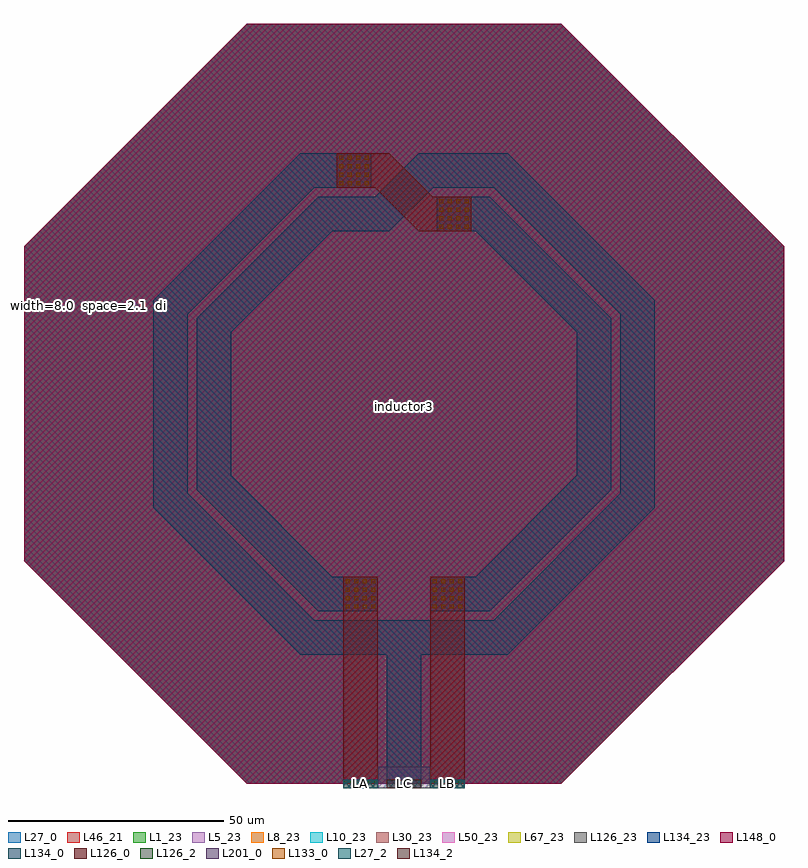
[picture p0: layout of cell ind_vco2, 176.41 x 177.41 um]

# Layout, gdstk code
import gdstk
lib = gdstk.Library(unit=1e-6, precision=1e-09)
def R(c, l, rs):  # rectangles x0, y0, x1, y1
    for r in rs: c.add(gdstk.rectangle(r[:2], r[2:], *l))
def A(c, l, x, y, w, h, nx, ny, dx, dy):  # array of equal rectangles
    R(c, l, [(x+i*dx, y+j*dy, x+i*dx+w, y+j*dy+h) for i in range(nx) for j in range(ny)])
def P(c, l, *ps):  # polygons
    for p in ps: c.add(gdstk.Polygon(p, *l))
L1_23 = (1, 23)
L5_23 = (5, 23)
L8_23 = (8, 23)
L10_23 = (10, 23)
L27_0 = (27, 0)
L27_2 = (27, 2)
L30_23 = (30, 23)
L46_21 = (46, 21)
L50_23 = (50, 23)
L67_23 = (67, 23)
L126_0 = (126, 0)
L126_2 = (126, 2)
L126_23 = (126, 23)
L133_0 = (133, 0)
L134_0 = (134, 0)
L134_2 = (134, 2)
L134_23 = (134, 23)
L148_0 = (148, 0)
L201_0 = (201, 0)

ind_vco2 = lib.new_cell('ind_vco2')
P(ind_vco2, L1_23, [(-36.535,0),(-88.205,51.67),(-88.205,124.74),(-36.535,176.41),(36.535,176.41),(88.205,124.74),(88.205,51.67),(36.535,0)])
P(ind_vco2, L5_23, [(-36.535,0),(-88.205,51.67),(-88.205,124.74),(-36.535,176.41),(36.535,176.41),(88.205,124.74),(88.205,51.67),(36.535,0)])
P(ind_vco2, L8_23, [(-36.535,0),(-88.205,51.67),(-88.205,124.74),(-36.535,176.41),(36.535,176.41),(88.205,124.74),(88.205,51.67),(36.535,0)])
P(ind_vco2, L10_23, [(-36.535,0),(-88.205,51.67),(-88.205,124.74),(-36.535,176.41),(36.535,176.41),(88.205,124.74),(88.205,51.67),(36.535,0)])
P(ind_vco2, L27_0, [(-36.535,0),(-88.205,51.67),(-88.205,124.74),(-36.535,176.41),(36.535,176.41),(88.205,124.74),(88.205,51.67),(36.535,0)])
A(ind_vco2, L27_2, -14.1, -1, 8, 2, 3, 1, 10.1, 0)
P(ind_vco2, L30_23, [(-36.535,0),(-88.205,51.67),(-88.205,124.74),(-36.535,176.41),(36.535,176.41),(88.205,124.74),(88.205,51.67),(36.535,0)])
P(ind_vco2, L46_21, [(-36.535,0),(-88.205,51.67),(-88.205,124.74),(-36.535,176.41),(36.535,176.41),(88.205,124.74),(88.205,51.67),(36.535,0)])
P(ind_vco2, L50_23, [(-36.535,0),(-88.205,51.67),(-88.205,124.74),(-36.535,176.41),(36.535,176.41),(88.205,124.74),(88.205,51.67),(36.535,0)])
P(ind_vco2, L67_23, [(-36.535,0),(-88.205,51.67),(-88.205,124.74),(-36.535,176.41),(36.535,176.41),(88.205,124.74),(88.205,51.67),(36.535,0)])
P(ind_vco2, L126_0, [(3.415,128.27),(-6.705,138.39),(-15.595,138.39),(-15.595,146.39),(-3.415,146.39),(6.705,136.27),(15.595,136.27),(15.595,128.27)])
R(ind_vco2, L126_2, [(-14.1,-1,-6.1,1), (-14.1,-1,-6.1,1), (6.1,-1,14.1,1), (6.1,-1,14.1,1)])
P(ind_vco2, L126_23, [(-36.535,0),(-88.205,51.67),(-88.205,124.74),(-36.535,176.41),(36.535,176.41),(88.205,124.74),(88.205,51.67),(36.535,0)])
A(ind_vco2, L133_0, -13.49, 40.71, 0.9, 0.9, 4, 4, 1.96, 1.96)
A(ind_vco2, L133_0, 6.71, 40.71, 0.9, 0.9, 4, 4, 1.96, 1.96)
A(ind_vco2, L133_0, 8.205, 128.88, 0.9, 0.9, 4, 4, 1.96, 1.96)
A(ind_vco2, L133_0, -14.985, 138.98, 0.9, 0.9, 4, 4, 1.96, 1.96)
R(ind_vco2, L134_0, [(-7.595,30,7.595,38)])
P(ind_vco2, L134_0, [(6.1,40.1),(6.1,48.1),(16.6,48.1),(40.085,71.585),(40.085,104.785),(16.6,128.27),(7.595,128.27),(7.595,136.27),(19.92,136.27),(48.085,108.105),(48.085,68.265),(19.92,40.1)],
  [(-19.92,40.1),(-48.085,68.265),(-48.085,108.105),(-19.92,136.27),(-7.595,136.27),(-7.595,128.27),(-16.6,128.27),(-40.085,104.785),(-40.085,71.585),(-16.6,48.1),(-6.1,48.1),(-6.1,40.1)],
  [(-7.595,128.27),(-7.595,136.27),(-6.705,136.27),(3.415,146.39),(7.595,146.39),(7.595,138.39),(6.735,138.39),(-3.385,128.27)],
  [(7.595,30),(7.595,38),(20.79,38),(50.195,67.405),(50.195,108.985),(20.79,138.39),(7.595,138.39),(7.595,146.39),(24.11,146.39),(58.195,112.305),(58.195,64.085),(24.11,30)],
  [(-24.11,30),(-58.195,64.085),(-58.195,112.305),(-24.11,146.39),(-7.595,146.39),(-7.595,138.39),(-20.79,138.39),(-50.195,108.985),(-50.195,67.405),(-20.79,38),(-7.595,38),(-7.595,30)])
R(ind_vco2, L134_2, [(-4,-1,4,1), (-4,-1,4,1)])
P(ind_vco2, L134_23, [(-36.535,0),(-88.205,51.67),(-88.205,124.74),(-36.535,176.41),(36.535,176.41),(88.205,124.74),(88.205,51.67),(36.535,0)])
P(ind_vco2, L148_0, [(-36.535,0),(-88.205,51.67),(-88.205,124.74),(-36.535,176.41),(36.535,176.41),(88.205,124.74),(88.205,51.67),(36.535,0)])
R(ind_vco2, L201_0, [(-6.1,-1,6.1,4)])
ind_vco2.add(gdstk.FlexPath([(0,-1),(0,30)], 8, ends="flush", simple_path=True, layer=134, datatype=0))  # L134_0
ind_vco2.add(gdstk.FlexPath([(10.1,-1),(10.1,48.1)], 8, ends="flush", simple_path=True, layer=126, datatype=0))  # L126_0
ind_vco2.add(gdstk.FlexPath([(-10.1,-1),(-10.1,48.1)], 8, ends="flush", simple_path=True, layer=126, datatype=0))  # L126_0
ind_vco2.add(gdstk.Label('LC', (0,0), layer=27, texttype=25))
ind_vco2.add(gdstk.Label('LB', (10.1,0), layer=27, texttype=25))
ind_vco2.add(gdstk.Label('LA', (-10.1,0), layer=27, texttype=25))
ind_vco2.add(gdstk.Label('inductor3', (0,87.515), layer=63, texttype=0))
ind_vco2.add(gdstk.Label('  width=8.0\n  space=2.1\n  diameter=80.17\n  turns=2', (-88.205,111.045), layer=63, texttype=0))

lib.write_gds('ind_vco2.gds')
